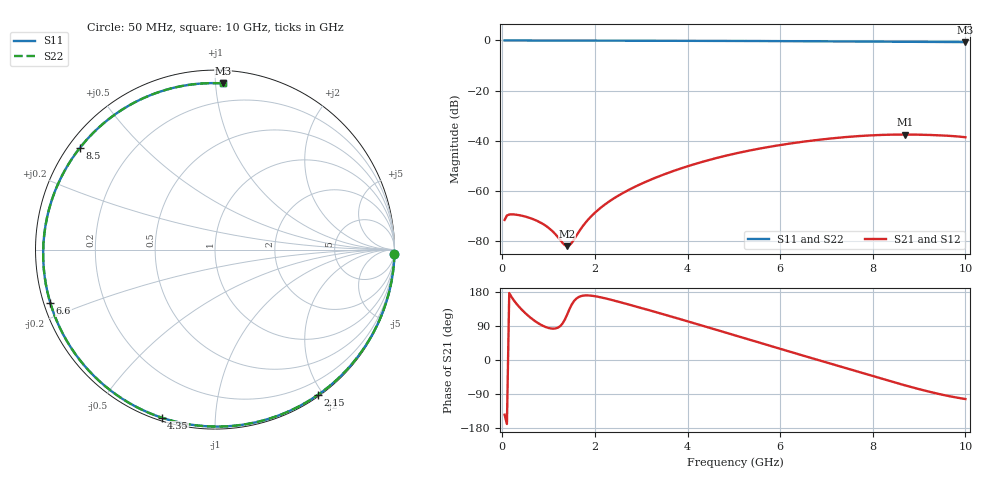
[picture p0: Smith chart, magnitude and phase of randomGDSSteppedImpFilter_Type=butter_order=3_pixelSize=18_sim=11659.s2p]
! freq	dB(S11)	phase(S11)	dB(S12)	phase(S12)
!  dB(S21)	phase(S21)	dB(S22)	phase(S22)
!S-par simulation data
#  GHz  S  DB  R 50
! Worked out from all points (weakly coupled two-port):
!   200 points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, 50 MHz to 10 GHz, reference 50 ohm
!   highest |S21| = -37.54 dB at 8.7 GHz (marker M1); lowest = -82.1 dB at 1.4 GHz (marker M2)
!   lowest |S11| = -0.7 dB at 10 GHz (marker M3), VSWR 26.38, Z = 3.98 + j52.3 ohm
!   |S11| at or under -10 dB: nowhere
!   |S22| runs from -0.7 to 0.0 dB; largest |S21 - S12| = 0
!   S11 on the Smith chart (normalised r, x): 50 MHz: 0, -88; 2.15 GHz: 0.02, -1.93; 4.35 GHz: 0.01, -0.73; 6.6 GHz: 0.02, -0.16; 8.5 GHz: 0.03, +0.33; 10 GHz: 0.08, +1.05
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0.05  -0.00 -1.3  -71.60 -144.4  -71.60 -144.4  -0.00 -1.3
0.1  -0.00 -2.6  -69.83 -168.9  -69.83 -168.9  -0.00 -2.6
0.2  -0.00 -5.2  -69.38 166.2  -69.38 166.2  -0.00 -5.2
0.6  -0.01 -15.6  -70.85 112.5  -70.85 112.5  -0.01 -15.6
0.95  -0.03 -24.6  -74.10 86.5  -74.10 86.5  -0.03 -24.6
1.25  -0.04 -32.3  -79.59 89.3  -79.59 89.3  -0.04 -32.3
1.4  -0.05 -36.1  -82.08 119.8  -82.08 119.8  -0.05 -36.1
1.55  -0.05 -39.9  -79.37 155.8  -79.37 155.8  -0.05 -39.8
1.75  -0.06 -44.9  -73.80 169.9  -73.80 169.9  -0.06 -44.9
2.15  -0.07 -54.8  -66.38 164.8  -66.38 164.8  -0.07 -54.8
2.7  -0.09 -68.3  -59.92 147.5  -59.92 147.5  -0.09 -68.3
3.4  -0.11 -85.2  -54.09 123.4  -54.09 123.4  -0.11 -85.2
4.35  -0.16 -107.7  -48.28 89.6  -48.28 89.6  -0.16 -107.6
5.05  -0.19 -124.2  -45.04 64.0  -45.04 64.0  -0.19 -124.1
6.6  -0.31 -162.1  -40.15 7.9  -40.15 7.9  -0.31 -162.1
6.7  -0.32 -164.7  -39.92 4.3  -39.92 4.3  -0.32 -164.7
7.55  -0.41 172.1  -38.35 -26.3  -38.35 -26.3  -0.41 172.2
8.35  -0.50 147.8  -37.61 -55.0  -37.61 -55.0  -0.50 147.9
8.5  -0.52 142.9  -37.56 -60.2  -37.56 -60.2  -0.52 143.0
8.7  -0.54 136.2  -37.54 -67.1  -37.54 -67.1  -0.54 136.3
9.4  -0.61 111.0  -37.83 -88.9  -37.83 -88.9  -0.61 111.0
10  -0.66 87.2  -38.62 -103.0  -38.62 -103.0  -0.66 87.3
